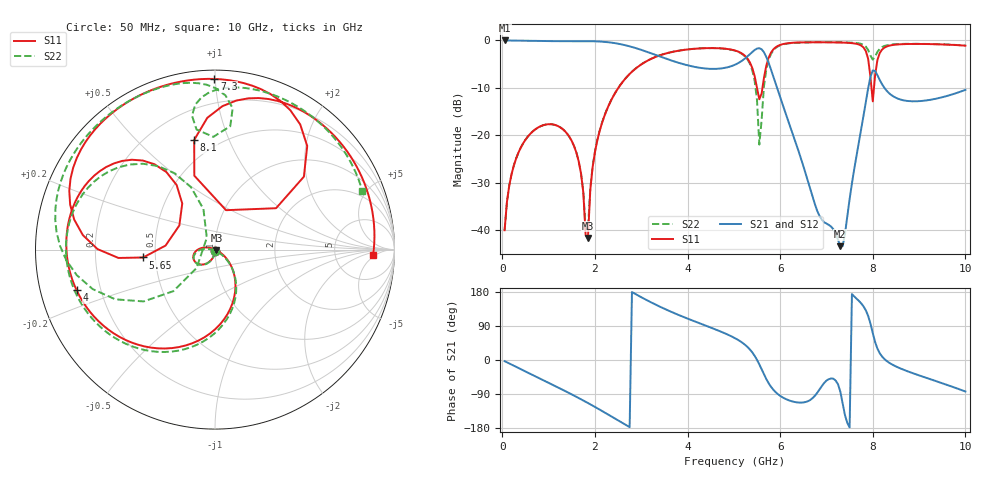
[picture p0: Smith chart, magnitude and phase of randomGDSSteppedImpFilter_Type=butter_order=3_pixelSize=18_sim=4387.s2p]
! freq	dB(S11)	phase(S11)	dB(S12)	phase(S12)
!  dB(S21)	phase(S21)	dB(S22)	phase(S22)
!S-par simulation data
#  GHz  S  DB  R 50
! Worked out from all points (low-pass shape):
!   200 points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, 50 MHz to 10 GHz, reference 50 ohm
!   highest |S21| = -0.01 dB at 50 MHz (marker M1); lowest = -43.3 dB at 7.3 GHz (marker M2)
!   |S21| within 3 dB of the highest: start of sweep to 3.297 GHz; 5.335 GHz to 5.677 GHz (341.8 MHz wide, 6.21 % of centre)
!   lowest |S11| = -41.6 dB at 1.85 GHz (marker M3), VSWR 1.02, Z = 50.8 - j0.297 ohm
!   |S11| at or under -10 dB: start of sweep to 2.506 GHz; 5.499 GHz to 5.618 GHz (118.4 MHz wide, 2.13 % of centre); 7.972 GHz to 8.026 GHz (53.76 MHz wide, 0.672 % of centre)
!   |S22| runs from -40.0 to -0.4 dB; largest |S21 - S12| = 0
!   S11 on the Smith chart (normalised r, x): 50 MHz: 1.00, -0.02; 4 GHz: 0.11, -0.14; 5.65 GHz: 0.43, -0.04; 7.3 GHz: 0.05, +1.00; 8.1 GHz: 0.38, +0.75; 10 GHz: 15, -4
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0.05  -39.99 -92.3  -0.01 -3.1  -0.01 -3.1  -39.99 -92.2
0.3  -24.84 -108.5  -0.04 -18.2  -0.04 -18.2  -24.84 -107.9
0.8  -18.20 -139.5  -0.13 -48.2  -0.13 -48.2  -18.21 -137.7
1.45  -20.33 -179.7  -0.15 -87.7  -0.15 -87.7  -20.34 -175.2
1.75  -32.11 159.5  -0.14 -106.9  -0.14 -106.9  -31.99 175.6
1.85  -41.59 -20.6  -0.15 -113.5  -0.15 -113.5  -39.75 -57.4
1.95  -26.76 -31.5  -0.17 -120.3  -0.17 -120.3  -26.63 -37.5
2.25  -14.78 -53.5  -0.34 -141.3  -0.34 -141.3  -14.75 -53.0
3.4  -3.15 -132.0  -3.37 140.9  -3.37 140.9  -3.14 -127.8
4  -1.90 -163.6  -5.24 109.3  -5.24 109.3  -1.90 -158.2
5.05  -2.20 145.7  -5.00 55.9  -5.00 55.9  -2.24 150.7
5.4  -5.85 122.1  -2.42 19.8  -2.42 19.8  -6.36 117.9
5.55  -12.40 145.8  -1.63 -11.5  -1.63 -11.5  -21.93 124.7
5.65  -7.90 -173.7  -2.48 -37.7  -2.48 -37.7  -9.69 -135.1
5.95  -1.16 158.0  -10.51 -90.0  -10.51 -90.0  -1.27 178.5
6.7  -0.39 116.2  -32.88 -100.6  -32.88 -100.6  -0.39 135.5
7.3  -0.44 90.2  -43.35 -83.9  -43.35 -83.9  -0.40 112.9
7.85  -2.24 48.3  -12.97 131.1  -12.97 131.1  -1.30 86.1
8  -12.84 74.4  -6.33 71.1  -6.33 71.1  -4.04 90.8
8.1  -4.13 100.7  -7.30 30.2  -7.30 30.2  -2.41 99.7
8.35  -1.12 73.8  -11.10 -6.9  -11.10 -6.9  -0.93 87.5
10  -1.10 -2.1  -10.41 -83.1  -10.41 -83.1  -1.07 21.8
